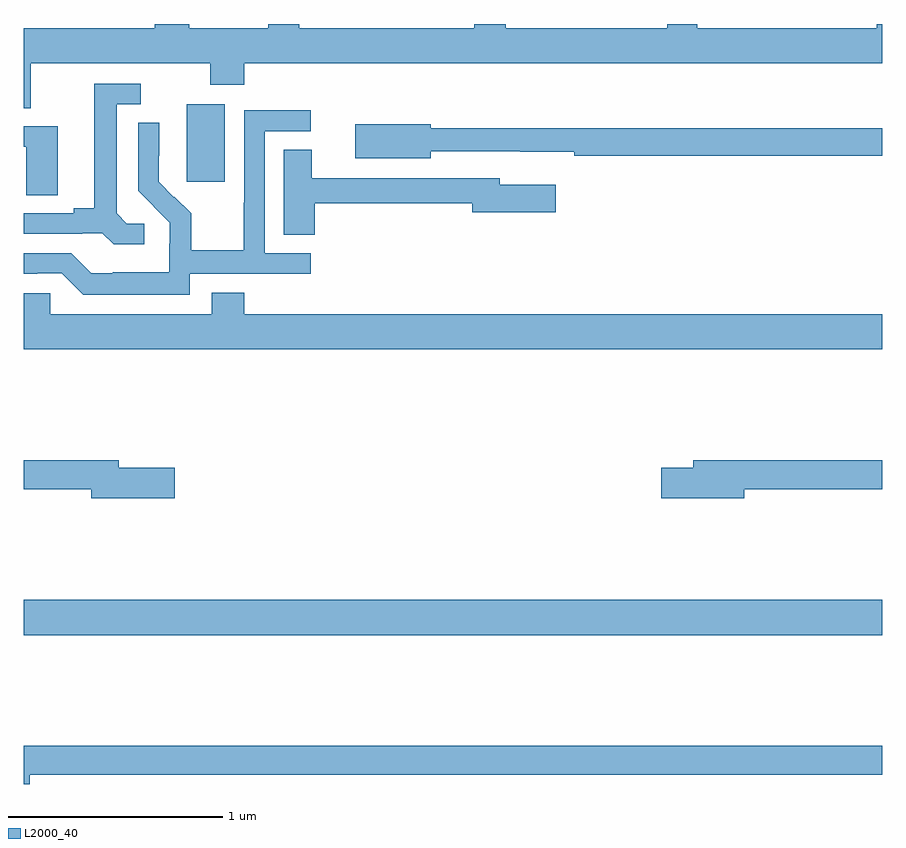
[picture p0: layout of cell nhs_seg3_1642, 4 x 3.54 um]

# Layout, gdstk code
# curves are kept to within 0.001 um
import gdstk
lib = gdstk.Library(unit=1e-6, precision=1e-09)
def R(c, l, rs):  # rectangles x0, y0, x1, y1
    for r in rs: c.add(gdstk.rectangle(r[:2], r[2:], *l))
def P(c, l, *ps):  # polygons
    for p in ps: c.add(gdstk.Polygon(p, *l))
L2000_40 = (2000, 40)

nhs_seg3_1642 = lib.new_cell('nhs_seg3_1642')
R(nhs_seg3_1642, L2000_40, [(195,731.552,199,731.716), (195.758,733.665,195.937,734.026)])
P(nhs_seg3_1642, L2000_40, [(195.031,734.216),(195.868,734.216),(195.868,734.117),(196.028,734.117),(196.028,734.216),(199,734.216),(199,734.4),(198.976,734.4),(198.976,734.38),(198.139,734.38),(198.139,734.4),(197.999,734.4),(197.999,734.38),(197.245,734.38),(197.245,734.4),(197.098,734.4),(197.098,734.38),(196.284,734.38),(196.284,734.4),(196.138,734.4),(196.138,734.38),(195.771,734.38),(195.771,734.4),(195.611,734.4),(195.611,734.38),(195,734.38),(195,734.008),(195.031,734.008)],
  [(195.562,733.47),(195.48,733.47),(195.433,733.517),(195.433,734.025),(195.544,734.025),(195.544,734.121),(195.329,734.121),(195.329,733.541),(195.233,733.541),(195.233,733.518),(195,733.518),(195,733.422),(195.272,733.422),(195.272,733.425),(195.366,733.425),(195.418,733.373),(195.562,733.373)],
  [(195.774,733.236),(196.336,733.236),(196.336,733.332),(196.122,733.332),(196.122,733.899),(196.336,733.899),(196.336,733.998),(196.026,733.998),(196.026,733.568),(196.024,733.568),(196.024,733.345),(195.779,733.345),(195.779,733.519),(195.702,733.596),(195.699,733.593),(195.629,733.664),(195.63,733.94),(195.534,733.94),(195.534,733.622),(195.68,733.474),(195.68,733.377),(195.678,733.377),(195.678,733.243),(195.415,733.243),(195.415,733.239),(195.315,733.239),(195.222,733.332),(195,733.332),(195,733.236),(195.062,733.236),(195.062,733.239),(195.177,733.239),(195.277,733.139),(195.774,733.139)],
  [(196.897,733.806),(197.314,733.806),(197.314,733.805),(197.566,733.805),(197.566,733.786),(199,733.786),(199,733.915),(196.897,733.915),(196.897,733.933),(196.545,733.933),(196.545,733.775),(196.897,733.775)],
  [(195.157,733.923),(195,733.923),(195,733.827),(195.012,733.827),(195.012,733.603),(195.157,733.603)],
  [(196.355,733.564),(197.09,733.564),(197.09,733.522),(197.479,733.522),(197.479,733.651),(197.218,733.651),(197.218,733.68),(196.342,733.68),(196.342,733.814),(196.211,733.814),(196.211,733.417),(196.355,733.417)],
  [(199,733.048),(196.028,733.048),(196.028,733.147),(195.875,733.147),(195.875,733.048),(195.123,733.048),(195.123,733.146),(195,733.146),(195,732.884),(199,732.884)],
  [(195.703,732.332),(195.442,732.332),(195.442,732.368),(195,732.368),(195,732.232),(195.314,732.232),(195.314,732.19),(195.703,732.19)],
  [(198.358,732.232),(199,732.232),(199,732.368),(198.119,732.368),(198.119,732.332),(197.97,732.332),(197.97,732.19),(198.358,732.19)],
  [(195.028,730.9),(199,730.9),(199,731.036),(195,731.036),(195,730.858),(195.028,730.858)])

lib.write_gds('nhs_seg3_1642.gds')
